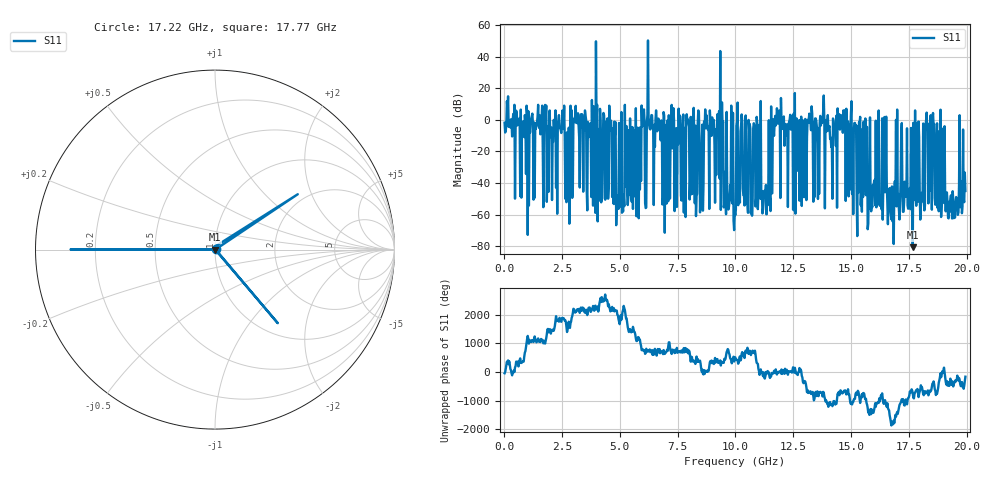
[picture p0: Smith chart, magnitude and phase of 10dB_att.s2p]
! RsaToolbox (C) 2014 Rohde & Schwarz America
! Number of points: 798
! Number of ports: 2
! Balanced ports?: No
# Hz S RI R 50
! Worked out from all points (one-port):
!   798 points, 20 MHz to 19.95 GHz, reference 50 ohm
!   lowest |S11| = -80.6 dB at 17.67 GHz (marker M1), VSWR 1.00, Z = 50 - j0.00512 ohm
!   |S11| at or under -10 dB: 11.1 GHz to 11.44 GHz (336.1 MHz wide, 2.98 % of centre); 16.53 GHz to 16.94 GHz (413.1 MHz wide, 2.47 % of centre); 19.05 GHz to 19.69 GHz (639.5 MHz wide, 3.3 % of centre) (the widest 3 of 152)
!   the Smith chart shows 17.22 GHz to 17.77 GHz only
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2e7  0.5683 -0.5684  0 0  0 0  1.6e-314 1.38e-315
3.345e9  0.5015 -0.2474  0 0  0 0  2.09e-317 1.53e-314
3.87e9  1.189 2.396  0 0  0 0  1.39e-319 1.46e-314
3.895e9  0.4849 -0.2072  0 0  0 0  3.16e-317 5.37e-318
3.945e9  -0.00104 0.000489  0 0  0 0  5.87e-317 6.02e-315
4.045e9  -0.000393 0.000478  0 0  0 0  7.59e-317 1.07e-314
4.07e9  0.3252 -0.3932  0 0  0 0  1.07e-314 1.07e-314
6.12e9  0.000887 -0.00136  0 0  0 0  2.06e-314 1.07e-314
6.145e9  1.62e-05 0.00169  0 0  0 0  1.99e-314 1.59e-314
6.27e9  0.5866 0.3487  0 0  0 0  5.33e-315 6.62e-318
6.295e9  0.2076 0.4801  0 0  0 0  5.36e-315 3.31e-317
6.32e9  0.4311 -0.2475  0 0  0 0  2.49e-315 7.97e-315
6.67e9  0.9107 -0.607  0 0  0 0  2.51e-317 6.36e-317
9.245e9  0.4611 -0.3053  0 0  0 0  4.05e-318 7.97e-315
9.345e9  106.9 104  0 0  0 0  5.32e-315 6.5e-317
9.42e9  2.983 -1.944  0 0  0 0  5.91e-317 9.3e-315
9.445e9  0.5677 -0.4036  0 0  0 0  1.59e-314 1.99e-314
9.995e9  -0.000837 0.000501  0 0  0 0  1.6e-314 1.6e-314
1.332e10  1.004 -1.235  0 0  0 0  1.13e-314 1.86e-314
1.6645e10  -0.000476 0.00263  0 0  0 0  1.07e-314 2.68e-317
1.767e10  7.81e-05 -5.12e-05  0 0  0 0  1.58e-319 5.2e-317
1.9945e10  -0.00547 -0.00146  0 0  0 0  1.71e-317 5.98e-317
